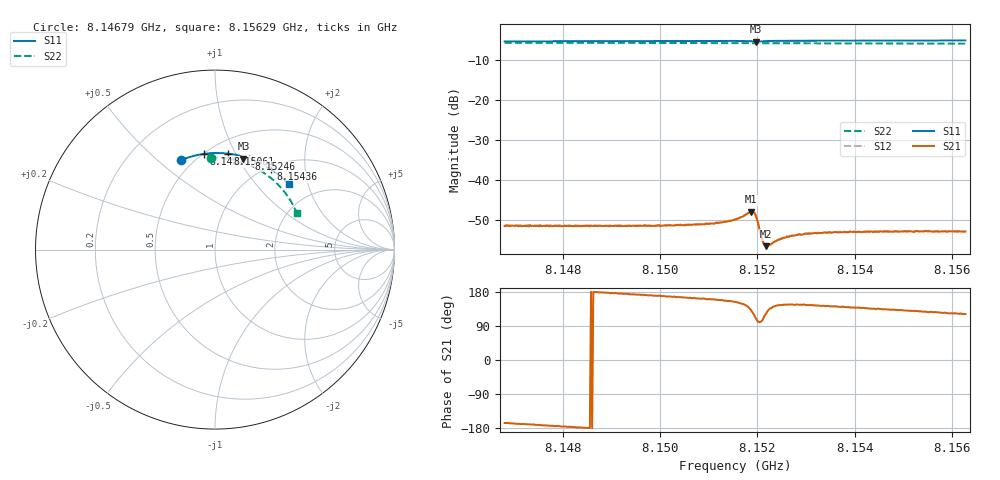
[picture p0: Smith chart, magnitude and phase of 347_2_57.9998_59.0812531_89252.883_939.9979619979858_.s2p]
#  HZ  S  RI  R  50.00
! Rohde & Schwarz Vector Network Analyzer
! Rohde-Schwarz,ZNB20-2Port,1311601062101988,3.16
! Created: UTC 3/21/2024, 1:05:51 AM
! freq[Hz]  re:S11  im:S11  re:S21  im:S21  re:S12  im:S12  re:S22  im:S22
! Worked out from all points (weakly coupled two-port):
!   401 points, 8.14679 GHz to 8.15629 GHz, reference 50 ohm
!   highest |S21| = -48.05 dB at 8.15187 GHz (marker M1); lowest = -56.7 dB at 8.15218 GHz (marker M2)
!   lowest |S11| = -5.5 dB at 8.15196 GHz (marker M3), VSWR 3.26, Z = 37.3 + j52.5 ohm
!   |S11| at or under -10 dB: nowhere
!   |S22| runs from -6.0 to -5.8 dB; largest |S21 - S12| = 0.00014
!   S11 on the Smith chart (normalised r, x): 8.14679 GHz: 0.43, +0.60; 8.14871 GHz: 0.50, +0.76; 8.15061 GHz: 0.62, +0.93; 8.15246 GHz: 0.77, +1.11; 8.15436 GHz: 1.04, +1.32; 8.15629 GHz: 1.46, +1.51
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8.146788e9  -0.1909 0.4979  -0.00254 -0.000619  -0.00262 -0.000594  -0.0241 0.5129
8.148378e9  -0.0845 0.5297  -0.00261 -8.1e-05  -0.00266 -5e-05  0.0796 0.5057
8.148711e9  -0.0616 0.5333  -0.00262 4.27e-05  -0.00266 7.45e-05  0.1007 0.5015
8.149969e9  0.0257 0.5384  -0.00263 0.000462  -0.00265 0.000519  0.1785 0.4776
8.15061e9  0.0704 0.5354  -0.00263 0.000724  -0.00261 0.000812  0.2159 0.4607
8.151085e9  0.1035 0.5307  -0.00265 0.000965  -0.00264 0.00103  0.2429 0.4465
8.151536e9  0.1354 0.5235  -0.00281 0.00141  -0.00284 0.00147  0.2673 0.4312
8.151869e9  0.1585 0.5109  -0.0026 0.00298  -0.00258 0.00303  0.2846 0.419
8.151916e9  0.1594 0.5077  -0.00206 0.00334  -0.00201 0.00339  0.287 0.4172
8.151964e9  0.1586 0.5061  -0.00122 0.00332  -0.00118 0.00339  0.2893 0.4156
8.152011e9  0.1581 0.5071  -0.000561 0.00281  -0.000519 0.00284  0.2916 0.4139
8.152083e9  0.1613 0.5103  -0.000415 0.00185  -0.000378 0.00188  0.2952 0.4113
8.152106e9  0.1631 0.5108  -0.000465 0.00164  -0.000485 0.00165  0.2964 0.4105
8.15213e9  0.1651 0.5114  -0.000602 0.00143  -0.000591 0.00147  0.2977 0.4096
8.152178e9  0.169 0.5117  -0.000782 0.00124  -0.000775 0.00125  0.3001 0.4078
8.152225e9  0.1727 0.5114  -0.000996 0.00111  -0.000989 0.00114  0.3026 0.406
8.152463e9  0.1906 0.5074  -0.00146 0.00103  -0.00148 0.00106  0.3144 0.3964
8.152724e9  0.2087 0.5012  -0.00166 0.00109  -0.00164 0.00112  0.327 0.3857
8.153127e9  0.2348 0.4904  -0.00173 0.00121  -0.00171 0.00126  0.3455 0.3681
8.154362e9  0.3098 0.4492  -0.00158 0.00157  -0.00159 0.00158  0.3962 0.3096
8.154718e9  0.3301 0.4351  -0.00151 0.00164  -0.00153 0.00168  0.4091 0.2913
8.156285e9  0.4103 0.3634  -0.00117 0.00191  -0.00112 0.00193  0.4551 0.2056
